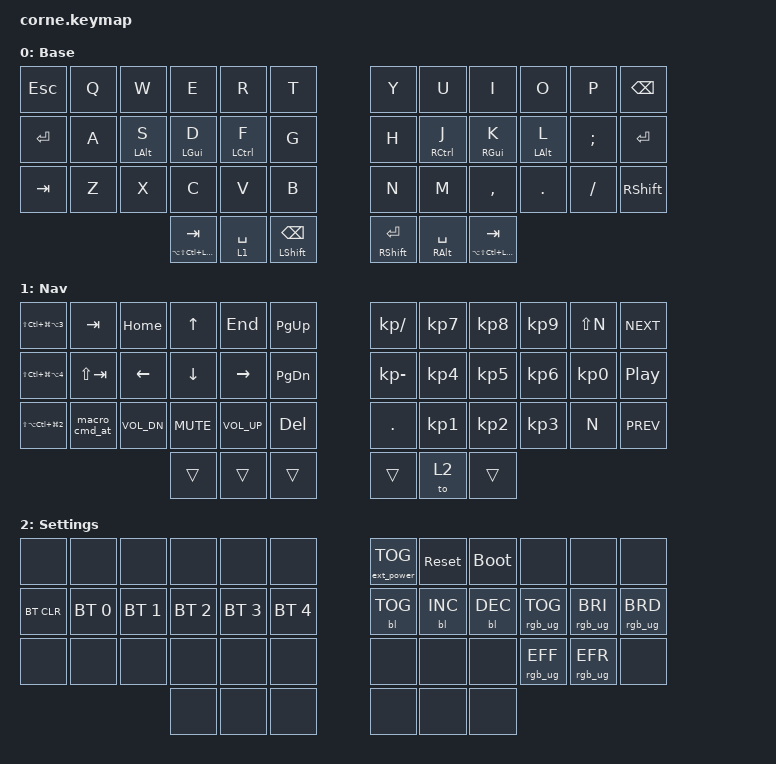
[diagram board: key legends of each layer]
/*
 * Copyright (c) 2020 The ZMK Contributors
 *
 * SPDX-License-Identifier: MIT
 */

#include <behaviors.dtsi>
#include <dt-bindings/zmk/backlight.h>
#include <dt-bindings/zmk/bt.h>
#include <dt-bindings/zmk/ext_power.h>
#include <dt-bindings/zmk/keys.h>
#include <dt-bindings/zmk/rgb.h>

/ {
    macros {
        macro_cmd_at: zmk,behavior-macro {
            compatible = "zmk,behavior-macro";
            #binding-cells = <0>;
            bindings =
                <&macro_press>,
                <&kp LGUI>,
                <&macro_tap>,
                <&kp AT>,
                <&macro_release>,
                <&kp LGUI>;
        };
    };
};

/ {
    combos { compatible = "zmk,combos"; };

    behaviors {
        hml: homewrow_mods_left {
            compatible = "zmk,behavior-hold-tap";
            label = "HOMEROW_MODS_LEFT_HAND";
            bindings = <&kp>, <&kp>;

            #binding-cells = <2>;
            tapping-term-ms = <200>;
            flavor = "balanced";
            hold-trigger-key-positions = <21 39 40 41 30 31 32 6 7 8 9 10 18 19 20 21 22 30 31 32 33 34 11 23 35>;
        };

        hmr: homewrow_mods_right {
            compatible = "zmk,behavior-hold-tap";
            label = "HOMEROW_MODS_RIGHT_HAND";
            bindings = <&kp>, <&kp>;

            #binding-cells = <2>;
            flavor = "balanced";
            hold-trigger-key-positions = <0 1 2 3 4 5 12 13 14 15 16 17 24 25 26 27 28 29 36 37 38>;
            tapping-term-ms = <200>;
        };
    };

    keymap {
        compatible = "zmk,keymap";

        Base {
            bindings = <
&kp ESCAPE  &kp Q  &kp W            &kp E                     &kp R                &kp T                       &kp Y                  &kp U                 &kp I                     &kp O            &kp P     &kp BSPC
&kp ENTER   &kp A  &hml LEFT_ALT S  &hml LEFT_GUI D           &hml LEFT_CONTROL F  &kp G                       &kp H                  &hmr RIGHT_CONTROL J  &hmr RIGHT_GUI K          &hmr LEFT_ALT L  &kp SEMI  &kp ENTER
&kp TAB     &kp Z  &kp X            &kp C                     &kp V                &kp B                       &kp N                  &kp M                 &kp COMMA                 &kp DOT          &kp FSLH  &kp RIGHT_SHIFT
                                    &mt LA(LS(LC(LGUI))) TAB  &lt 1 SPACE          &mt LEFT_SHIFT BACKSPACE    &mt RIGHT_SHIFT ENTER  &mt RIGHT_ALT SPACE   &mt LA(LS(LC(LGUI))) TAB
            >;
        };

        Nav {
            bindings = <
&kp LS(LC(LG(LA(NUMBER_3))))  &kp TAB        &kp HOME      &kp UP      &kp END       &kp PAGE_UP      &kp KP_SLASH  &kp KP_NUMBER_7  &kp KP_NUMBER_8  &kp KP_NUMBER_9  &kp LS(N)        &kp C_NEXT
&kp LS(LC(LG(LA(NUMBER_4))))  &kp LS(TAB)    &kp LEFT      &kp DOWN    &kp RIGHT     &kp PAGE_DOWN    &kp KP_MINUS  &kp KP_NUMBER_4  &kp KP_NUMBER_5  &kp KP_NUMBER_6  &kp KP_NUMBER_0  &kp C_PLAY_PAUSE
&kp LS(LA(LC(LG(NUMBER_2))))  &macro_cmd_at  &kp C_VOL_DN  &kp C_MUTE  &kp C_VOL_UP  &kp DEL          &kp DOT       &kp KP_NUMBER_1  &kp KP_NUMBER_2  &kp KP_NUMBER_3  &kp N            &kp C_PREV
                                                           &trans      &trans        &trans           &trans        &to 2            &trans
            >;
        };

        Settings {
            bindings = <
&none       &none         &none         &none         &none         &none           &ext_power EP_TOG  &sys_reset  &bootloader  &none            &none            &none
&bt BT_CLR  &bt BT_SEL 0  &bt BT_SEL 1  &bt BT_SEL 2  &bt BT_SEL 3  &bt BT_SEL 4    &bl BL_TOG         &bl BL_INC  &bl BL_DEC   &rgb_ug RGB_TOG  &rgb_ug RGB_BRI  &rgb_ug RGB_BRD
&none       &none         &none         &none         &none         &none           &none              &none       &none        &rgb_ug RGB_EFF  &rgb_ug RGB_EFR  &none
                                        &none         &none         &none           &none              &none       &none
            >;
        };
    };
};
